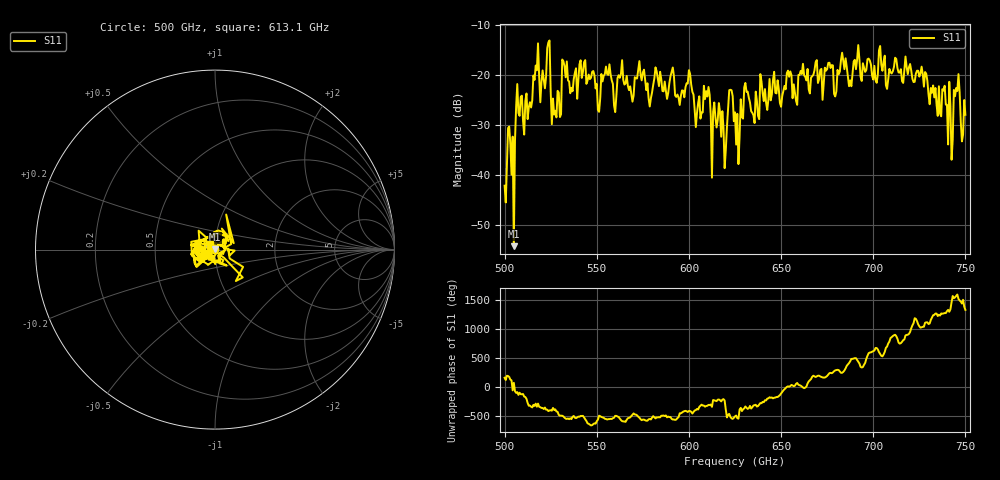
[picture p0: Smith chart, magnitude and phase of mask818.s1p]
!Created with skrf (http://scikit-rf.org).
# GHz S MA R 50.0
!freq magS11 angS11
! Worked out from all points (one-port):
!   401 points, 500 GHz to 750 GHz, reference 50 ohm
!   lowest |S11| = -54.3 dB at 505 GHz (marker M1), VSWR 1.00, Z = 50.1 + j0.183 ohm
!   |S11| at or under -10 dB: start of sweep to end of sweep
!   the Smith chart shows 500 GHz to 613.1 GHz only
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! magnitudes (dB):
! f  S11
! 500 GHz  -42.2
! 503.1 GHz  -33.9
! 505 GHz  -54.3
! 507.5 GHz  -27.7
! 513.8 GHz  -25.5
! 516.9 GHz  -18.2
! 520.6 GHz  -19.2
! 523.8 GHz  -13.5
! 526.9 GHz  -28.0
! 531.2 GHz  -17.0
! 542.5 GHz  -19.5
! 550.6 GHz  -27.1
! 556.2 GHz  -20.1
! 559.4 GHz  -26.1
! 562.5 GHz  -20.6
! 593.8 GHz  -24.0
! 609.4 GHz  -23.3
! 618.8 GHz  -30.6
! 622.5 GHz  -23.0
! 625 GHz  -27.5
! 656.2 GHz  -24.7
! 683.8 GHz  -17.3
! 687.5 GHz  -21.2
! 718.8 GHz  -19.9
! 738.8 GHz  -22.2
! 741.9 GHz  -26.3
! 745 GHz  -22.7
! 750 GHz  -28.0
